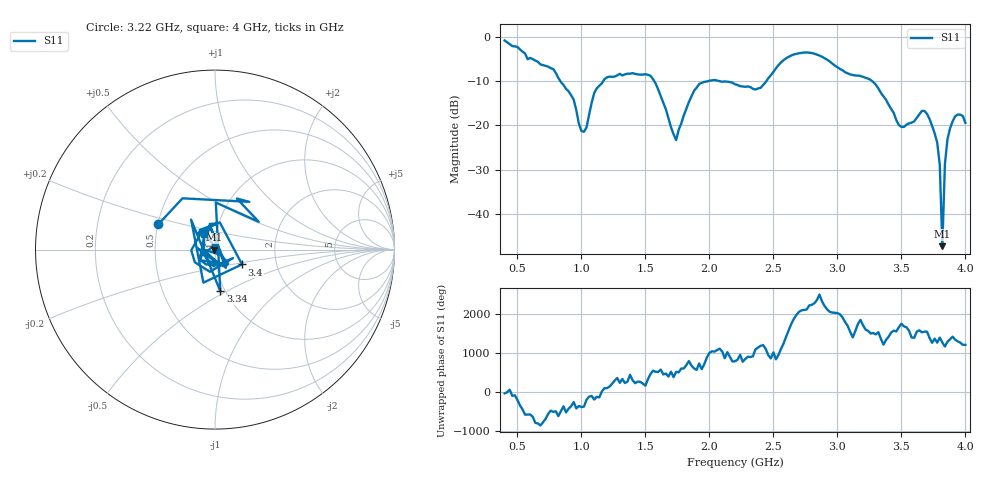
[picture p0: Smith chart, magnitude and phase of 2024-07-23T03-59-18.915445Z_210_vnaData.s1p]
!Created with skrf (http://scikit-rf.org).
# Hz S RI R 50.0
!freq ReS11 ImS11
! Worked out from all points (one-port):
!   181 points, 400 MHz to 4 GHz, reference 50 ohm
!   lowest |S11| = -47.3 dB at 3.82 GHz (marker M1), VSWR 1.01, Z = 49.6 - j0.0297 ohm
!   |S11| at or under -10 dB: 1.569 GHz to 1.987 GHz (417.7 MHz wide, 23.5 % of centre); 2.081 GHz to 2.445 GHz (363.6 MHz wide, 16.1 % of centre); 3.272 GHz to end of sweep (the widest 3 of 4)
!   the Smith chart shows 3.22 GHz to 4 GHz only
!   S11 on the Smith chart (normalised r, x): 3.22 GHz: 0.50, +0.16; 3.34 GHz: 0.95, -0.47; 3.4 GHz: 1.33, -0.23; 4 GHz: 0.87, +0.16
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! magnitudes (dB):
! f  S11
! 400 MHz  -0.8
! 780 MHz  -7.2
! 860 MHz  -10.8
! 940 MHz  -14.2
! 1.02 GHz  -21.4
! 1.12 GHz  -11.6
! 1.3 GHz  -8.3
! 1.54 GHz  -8.8
! 1.74 GHz  -23.3
! 1.76 GHz  -21.0
! 1.92 GHz  -10.6
! 2.2 GHz  -10.7
! 2.4 GHz  -11.5
! 2.66 GHz  -3.9
! 3.1 GHz  -8.5
! 3.22 GHz  -9.2
! 3.34 GHz  -12.6
! 3.4 GHz  -15.3
! 3.48 GHz  -19.9
! 3.56 GHz  -19.5
! 3.68 GHz  -16.7
! 3.78 GHz  -23.9
! 3.8 GHz  -29.0
! 3.82 GHz  -47.3
! 3.84 GHz  -28.8
! 3.86 GHz  -23.1
! 3.92 GHz  -17.9
! 4 GHz  -19.4
